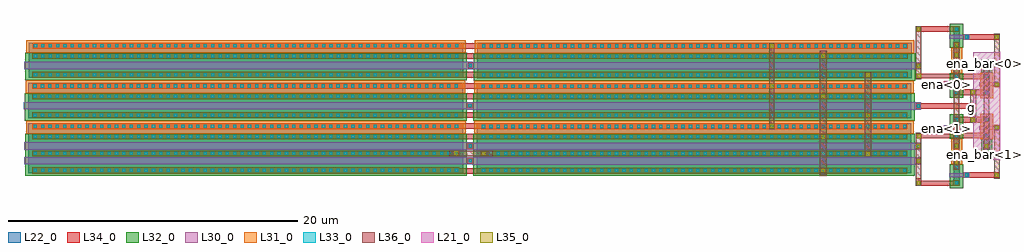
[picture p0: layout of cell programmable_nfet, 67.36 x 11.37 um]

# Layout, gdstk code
from math import pi, radians
import gdstk
lib = gdstk.Library(unit=1e-6, precision=5e-09)
def R(c, l, rs):  # rectangles x0, y0, x1, y1
    for r in rs: c.add(gdstk.rectangle(r[:2], r[2:], *l))
def A(c, l, x, y, w, h, nx, ny, dx, dy):  # array of equal rectangles
    R(c, l, [(x+i*dx, y+j*dy, x+i*dx+w, y+j*dy+h) for i in range(nx) for j in range(ny)])
def P(c, l, *ps):  # polygons
    for p in ps: c.add(gdstk.Polygon(p, *l))
L21_0 = (21, 0)
L22_0 = (22, 0)
L30_0 = (30, 0)
L31_0 = (31, 0)
L32_0 = (32, 0)
L33_0 = (33, 0)
L34_0 = (34, 0)
L35_0 = (35, 0)
L36_0 = (36, 0)

nfet_2 = lib.new_cell('nfet$2')
R(nfet_2, L22_0, [(-0.42,0,0,30), (0,0,0.88,30), (0.88,0,1.3,30), (1.3,0,2.01,30)])
R(nfet_2, L30_0, [(0.19,-0.66,0.69,-0.3), (0.19,-0.3,0.69,30.3)])
R(nfet_2, L31_0, [(1.3,-0.17,2.18,30.17)])
R(nfet_2, L32_0, [(-0.59,-0.24,1.3,30.24)])
A(nfet_2, L33_0, -0.32, 0.355, 0.22, 0.22, 1, 58, 0, 0.51)
A(nfet_2, L33_0, 0.98, 0.355, 0.22, 0.22, 1, 58, 0, 0.51)
A(nfet_2, L33_0, 1.69, 0.355, 0.22, 0.22, 1, 58, 0, 0.51)
R(nfet_2, L33_0, [(0.33,-0.59,0.55,-0.37)])
R(nfet_2, L34_0, [(0.25,-0.67,0.63,-0.29), (-0.4,0.275,-0.02,29.725), (0.9,0.275,1.28,29.725), (1.61,0.275,1.99,29.725)])

nfet_3 = lib.new_cell('nfet$3')
R(nfet_3, L22_0, [(-0.42,0,0,30), (0,0,1.9,30), (1.9,0,2.32,30), (2.32,0,3.03,30)])
R(nfet_3, L30_0, [(0.19,-0.66,0.69,-0.3), (1.21,-0.66,1.71,-0.3), (0.19,-0.3,0.69,30.3), (1.21,-0.3,1.71,30.3)])
R(nfet_3, L31_0, [(2.32,-0.17,3.2,30.17)])
R(nfet_3, L32_0, [(-0.59,-0.24,2.32,30.24)])
A(nfet_3, L33_0, -0.32, 0.355, 0.22, 0.22, 3, 58, 1.16, 0.51)
A(nfet_3, L33_0, 2.71, 0.355, 0.22, 0.22, 1, 58, 0, 0.51)
R(nfet_3, L33_0, [(0.33,-0.59,0.55,-0.37), (1.35,-0.59,1.57,-0.37)])
A(nfet_3, L34_0, -0.4, 0.275, 0.38, 29.45, 3, 1, 1.16, 0)
R(nfet_3, L34_0, [(0.25,-0.67,0.63,-0.29), (1.27,-0.67,1.65,-0.29), (2.63,0.275,3.01,29.725)])

nfet_3_1 = lib.new_cell('nfet$3$1')
R(nfet_3_1, L22_0, [(-0.42,-0.01,0,0.43), (0.66,-0.01,1.08,0.43), (1.08,-0.01,1.79,0.43), (0,0,0.66,0.42)])
R(nfet_3_1, L30_0, [(0.15,-0.66,0.51,-0.3), (0.19,-0.3,0.47,0.72)])
R(nfet_3_1, L31_0, [(1.08,-0.17,1.96,0.59)])
R(nfet_3_1, L32_0, [(-0.59,-0.25,1.08,0.67)])
R(nfet_3_1, L33_0, [(0.22,-0.59,0.44,-0.37), (-0.32,0.1,-0.1,0.32), (0.76,0.1,0.98,0.32), (1.47,0.1,1.69,0.32)])
R(nfet_3_1, L34_0, [(0.14,-0.67,0.52,-0.29), (-0.4,0.02,-0.02,0.4), (0.68,0.02,1.06,0.4), (1.39,0.02,1.77,0.4)])

nfet_4 = lib.new_cell('nfet$4')
R(nfet_4, L22_0, [(-0.42,-0.01,0,0.43), (0.66,-0.01,1.08,0.43), (1.08,-0.01,1.79,0.43), (0,0,0.66,0.42)])
R(nfet_4, L30_0, [(0.19,-0.3,0.47,0.72), (0.15,0.72,0.51,1.08)])
R(nfet_4, L31_0, [(1.08,-0.17,1.96,0.59)])
R(nfet_4, L32_0, [(-0.59,-0.25,1.08,0.67)])
R(nfet_4, L33_0, [(-0.32,0.1,-0.1,0.32), (0.76,0.1,0.98,0.32), (1.47,0.1,1.69,0.32), (0.22,0.79,0.44,1.01)])
R(nfet_4, L34_0, [(-0.4,0.02,-0.02,0.4), (0.68,0.02,1.06,0.4), (1.39,0.02,1.77,0.4), (0.14,0.71,0.52,1.09)])

nfet = lib.new_cell('nfet')
R(nfet, L22_0, [(-0.42,-0.01,0,0.43), (0.66,-0.01,1.08,0.43), (1.08,-0.01,1.79,0.43), (0,0,0.66,0.42)])
R(nfet, L30_0, [(0.19,-0.3,0.47,0.72), (0.15,0.72,0.51,1.08)])
R(nfet, L31_0, [(1.08,-0.17,1.96,0.59)])
R(nfet, L32_0, [(-0.59,-0.25,1.08,0.67)])
R(nfet, L33_0, [(-0.32,0.1,-0.1,0.32), (0.76,0.1,0.98,0.32), (1.47,0.1,1.69,0.32), (0.22,0.79,0.44,1.01)])
R(nfet, L34_0, [(-0.4,0.02,-0.02,0.4), (0.68,0.02,1.06,0.4), (1.39,0.02,1.77,0.4), (0.14,0.71,0.52,1.09)])

pfet = lib.new_cell('pfet')

pfet_1 = lib.new_cell('pfet$1')
R(pfet_1, L21_0, [(-1.16,-0.71,2.55,1.13)])
R(pfet_1, L22_0, [(-0.46,-0.01,0,0.43), (0.66,-0.01,1.12,0.43), (1.12,-0.01,1.85,0.43), (0,0,0.66,0.42)])
R(pfet_1, L30_0, [(0.19,-0.3,0.47,0.72), (0.14,0.72,0.52,1.1)])
R(pfet_1, L31_0, [(-0.63,-0.25,1.12,0.67)])
R(pfet_1, L32_0, [(1.12,-0.17,2.02,0.59)])
R(pfet_1, L33_0, [(-0.34,0.1,-0.12,0.32), (0.78,0.1,1,0.32), (1.51,0.1,1.73,0.32), (0.22,0.8,0.44,1.02)])
R(pfet_1, L34_0, [(-0.42,0.02,-0.04,0.4), (0.7,0.02,1.08,0.4), (1.43,0.02,1.81,0.4), (0.14,0.72,0.52,1.1)])

transmission_gate = lib.new_cell('transmission_gate')
R(transmission_gate, L34_0, [(-1.54,-0.6,0.915,-0.225), (-1.54,0.48,0.915,0.895)])
transmission_gate.add(gdstk.Reference(nfet, (0.515,0.46), rotation=3*pi/2))
transmission_gate.add(gdstk.Reference(pfet, (-1.075,0.09), rotation=3*pi/2))
transmission_gate.add(gdstk.Reference(pfet, (-0.98,0.115), rotation=3*pi/2))
transmission_gate.add(gdstk.Reference(pfet, (-0.925,-0.105), rotation=3*pi/2))
transmission_gate.add(gdstk.Reference(pfet, (-1.045,0.115), rotation=3*pi/2))
transmission_gate.add(gdstk.Reference(pfet, (-3.895,0.255), rotation=3*pi/2))
transmission_gate.add(gdstk.Reference(pfet, (-4.225,0.69), rotation=3*pi/2))
transmission_gate.add(gdstk.Reference(pfet, (-3.75,0.445), rotation=3*pi/2))
transmission_gate.add(gdstk.Reference(pfet, (-4.065,-0.635), rotation=3*pi/2))
transmission_gate.add(gdstk.Reference(pfet, (-4.08,-0.7), rotation=3*pi/2))
transmission_gate.add(gdstk.Reference(pfet, (-4.065,-0.57), rotation=3*pi/2))
transmission_gate.add(gdstk.Reference(pfet, (-1.45,0.065), rotation=3*pi/2))
transmission_gate.add(gdstk.Reference(pfet, (-1.48,0.125), rotation=3*pi/2))
transmission_gate.add(gdstk.Reference(pfet, (-1.645,0.065), rotation=3*pi/2))
transmission_gate.add(gdstk.Reference(pfet, (-0.11,-0.01), rotation=3*pi/2))
transmission_gate.add(gdstk.Reference(pfet, (-0.335,0.205), rotation=3*pi/2))
transmission_gate.add(gdstk.Reference(pfet, (-1.17,0.295), rotation=3*pi/2))
transmission_gate.add(gdstk.Reference(pfet_1, (-1.14,0.475), rotation=3*pi/2, x_reflection=True))
transmission_gate.add(gdstk.Label('in', (-0.32,0.68), layer=34, texttype=10))
transmission_gate.add(gdstk.Label('out', (-0.345,-0.395), layer=34, texttype=10))
transmission_gate.add(gdstk.Label('VDD', (-1.36,-1.17), layer=34, texttype=10))
transmission_gate.add(gdstk.Label('VSS', (0.72,-1.135), layer=34, texttype=10))
transmission_gate.add(gdstk.Label('ena_bar', (-2.055,0.15), layer=34, texttype=10))
transmission_gate.add(gdstk.Label('ena', (1.385,0.1), layer=34, texttype=10))

programmable_nfet = lib.new_cell('programmable_nfet')
R(programmable_nfet, L30_0, [(-16.57,8.22,14.43,8.7), (-16.4,9.235,14.265,9.72), (-16.37,11.995,14.295,12.495), (-16.37,14.775,14.295,15.26)])
R(programmable_nfet, L34_0, [(14.615,6.745,17.62,7.095), (14.615,7.095,14.985,7.25), (14.985,7.095,14.995,7.25), (17.93,7.285,20.395,7.665), (-46.38,7.55,14.005,7.94), (17.24,7.825,17.62,9.675), (-46.345,9.93,14.04,10.32), (14.615,10.01,17.24,10.31), (-46.345,10.655,14.04,11.045), (-46.365,11.43,14.02,11.82), (14.615,12.04,18.77,12.42), (-46.365,12.72,14.02,13.11), (-46.375,13.42,14.01,13.81), (14.615,14.165,17.24,14.465), (-46.365,14.205,14.02,14.595), (-46.355,15.495,14.03,15.885), (-46.335,16.195,14.05,16.585), (17.92,16.815,20.385,17.195), (14.615,17.355,17.24,17.735)])
R(programmable_nfet, L35_0, [(14.675,6.79,14.935,7.05), (20.07,7.34,20.33,7.6), (8.115,7.665,8.375,7.925), (17.295,8.24,17.555,8.5), (14.665,8.315,14.925,8.575), (11.185,8.82,11.445,9.08), (-15.35,8.83,-15.09,9.09), (-17.225,8.84,-16.965,9.1), (19.37,9.325,19.63,9.585), (14.66,9.34,14.92,9.6), (17.295,9.355,17.555,9.615), (8.115,9.99,8.375,10.25), (14.71,10.03,14.97,10.29), (20.075,10.62,20.335,10.88), (4.54,10.705,4.8,10.965), (18.415,11.165,18.675,11.425), (11.16,11.455,11.42,11.715), (18.41,12.085,18.67,12.345), (8.1,12.76,8.36,13.02), (18.445,13.055,18.705,13.315), (4.54,13.47,4.8,13.73), (20.075,13.6,20.335,13.86), (14.72,14.19,14.98,14.45), (11.185,14.245,11.445,14.505), (17.295,14.87,17.555,15.13), (19.375,14.89,19.635,15.15), (14.68,14.895,14.94,15.155), (8.12,15.555,8.38,15.815), (17.3,15.625,17.56,15.885), (4.56,16.255,4.82,16.515), (17.3,16.335,17.56,16.595), (20.065,16.875,20.325,17.135), (14.665,17.41,14.925,17.67), (14.665,17.41,14.925,17.67)])
P(programmable_nfet, L35_0, [(11.45,8.985),(11.45,8.985),(11.45,8.985),(11.45,8.985)])
R(programmable_nfet, L36_0, [(14.615,6.745,14.995,10.385), (20.015,7.23,20.395,10.94), (7.99,7.45,8.485,16.07), (17.24,7.825,17.62,16.655), (11.075,8.77,11.545,14.565), (-17.6,8.775,-14.6,9.15), (19.315,9.27,19.695,15.21), (4.5,10.64,4.84,16.575), (18.355,11.085,18.77,13.395), (20.015,13.53,20.395,17.24), (14.615,14.095,14.995,17.735), (17.24,16.255,17.62,16.655)])
programmable_nfet.add(gdstk.Reference(nfet_2, (14.33,14.585), rotation=pi/2))
programmable_nfet.add(gdstk.Reference(nfet_2, (14.305,11.805), rotation=pi/2))
programmable_nfet.add(gdstk.Reference(nfet_3, (14.315,8.01), rotation=pi/2))
programmable_nfet.add(gdstk.Reference(nfet_2, (-16.61,14.6), rotation=pi/2))
programmable_nfet.add(gdstk.Reference(nfet_2, (-16.635,11.82), rotation=pi/2))
programmable_nfet.add(gdstk.Reference(nfet_3, (-16.625,8.02), rotation=pi/2))
programmable_nfet.add(gdstk.Reference(nfet_3_1, (17.64,7.145), rotation=pi/2))
programmable_nfet.add(gdstk.Reference(nfet_4, (17.22,17.335), rotation=3*pi/2))
programmable_nfet.add(gdstk.Reference(transmission_gate, (18.155,10.605), rotation=pi, x_reflection=True))
programmable_nfet.add(gdstk.Reference(transmission_gate, (18.155,13.875), rotation=pi))
programmable_nfet.add(gdstk.Label('ena<1>', (16.735,10.72), layer=34, texttype=10))
programmable_nfet.add(gdstk.Label('ena<0>', (16.725,13.745), layer=34, texttype=10))
programmable_nfet.add(gdstk.Label('g', (18.485,12.165), layer=36, texttype=10))
programmable_nfet.add(gdstk.Label('ena_bar<0>', (20.17,15.205), layer=36, texttype=10))
programmable_nfet.add(gdstk.Label('ena_bar<1>', (20.24,8.905), layer=36, texttype=10))
programmable_nfet.add(gdstk.Label('VSS', (17.415,11.85), layer=36, texttype=10))
programmable_nfet.add(gdstk.Label('VDD', (19.515,12.24), layer=36, texttype=10))

lib.write_gds('programmable_nfet.gds')
